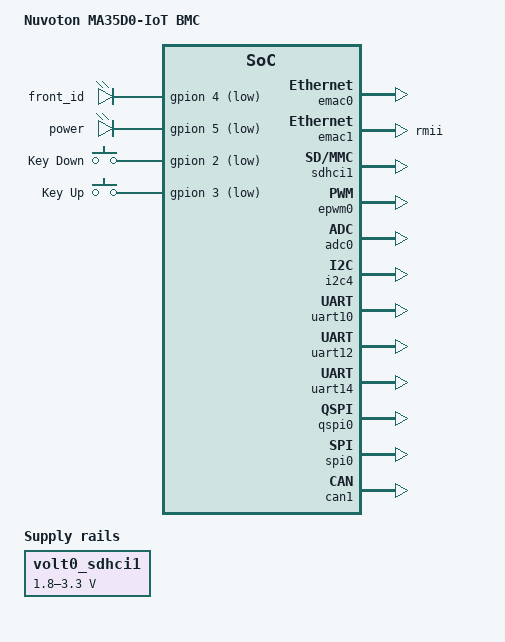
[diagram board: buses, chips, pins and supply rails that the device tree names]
/*
 * Device Tree Source for MA35D0 IoT Board (BMC)
 *
 * Copyright (C) 2021 Nuvoton Technology Corp.
 *
 * The code contained herein is licensed under the GNU General Public
 * License. You may obtain a copy of the GNU General Public License
 * Version 2 or later at the following locations:
 *
 * http://www.opensource.org/licenses/gpl-license.html
 * http://www.gnu.org/copyleft/gpl.html
 */

/dts-v1/;

#include "ma35d0.dtsi"

/ {
	model = "Nuvoton MA35D0-IoT BMC";

	chosen {
		bootargs = "noinitrd ubi.mtd=spinand-rootfs root=ubi0:rootfs rootfstype=ubifs rw rootwait=1 console=ttyS0,115200n8 init=/sbin/init mem=256M swiotlb=1";
	};

	leds {
		compatible = "gpio-leds";

		front_id {
			label = "front_id";
			gpios = <&gpion 4 1>;
			default-state = "off";
		};

		power {
			label = "power";
			gpios = <&gpion 5 1>;
			default-state = "on";
		};
	};

	gpio_keys_test {
		compatible = "gpio-keys";
		status = "okay";
		autorepeat;
		botton0 {
			label = "Key Down";
			linux,code = <KEY_DOWN>;
			gpios = <&gpion 2 GPIO_ACTIVE_LOW>;
			wakeup-source;
		};
		button1{
			label ="Key Up";
			linux,code = <KEY_UP>;
			gpios = <&gpion 3 GPIO_ACTIVE_LOW>;
			wakeup-source;
		};
	};

	volt0_sdhci1: regulator-volt0_sdhci1 {
		compatible = "regulator-gpio";
		regulator-name = "volt1_sdhci1";
		regulator-min-microvolt = <1800000>;
		regulator-max-microvolt = <3300000>;
		gpios = <&gpion 11 GPIO_ACTIVE_HIGH>; /* PN11 */
		gpios-states = <0>;
		states = <1800000 0x1 3300000 0x0>;
		enable-active-high;
		regulator-boot-on;
	};
};

&mem {
	device_type = "memory";
	reg = <0x00000000 0x80000000 0 0x10000000>; /* DRAM space - 1, size : 256MB DRAM */
};

&pdma0 {
	status = "disabled";
};

&pdma1 {
	status = "okay";
};

&pdma2 {
	status = "disabled";
};

&pdma3 {
	status = "disabled";
};

&emac0 {
	status = "okay";
	pinctrl-names = "default";
	pinctrl-0 = <&pinctrl_emac0>;
};

&emac1 {
	status = "okay";
	phy-mode = "rmii";
	pinctrl-names = "default";
	pinctrl-0 = <&pinctrl_emac1>;
};

&ehci0 {
	pinctrl-names = "default";
	pinctrl-0 = <&pinctrl_hsusbh>;
};

&usb {
	pinctrl-names = "default";
	pinctrl-0 = <&pinctrl_usb>;
};

&nand {
	status = "disabled";
	pinctrl-names = "default";
	pinctrl-0 = <&pinctrl_nand>;
};

&sdhci1 {
	status = "okay";
	disable-wp;
	pinctrl-names = "sdhci_3V3","sdhci_1V8";
	pinctrl-0 = <&pinctrl_sdhci1_3_3V>;
	pinctrl-1 = <&pinctrl_sdhci1_1_8V>;
	vqmmc-supply = <&volt0_sdhci1>;
	power-gpios = <&gpion 14 GPIO_ACTIVE_LOW>; /* PN14 */
};

&epwm0 {
	status = "okay";
	pinctrl-names = "default";
	pinctrl-0 = <&pinctrl_epwm0>;
};

&adc0 {
	status = "okay";
	pinctrl-names = "default";
	pinctrl-0 = <&pinctrl_adc0>;
};

&i2c4 {
	status = "okay";
	pinctrl-names = "default";
	pinctrl-0 = <&pinctrl_i2c4>;
};

&i2c5 {
	status = "disabled";
	pinctrl-names = "default";
	pinctrl-0 = <&pinctrl_i2c5>;
};

&uart10 {
	status = "okay";
	pinctrl-names = "default";
	pinctrl-0 = <&pinctrl_uart10>;
};

&uart12 {
	status = "okay";
	pinctrl-names = "default";
	pinctrl-0 = <&pinctrl_uart12>;
};

&uart14 {
	status = "okay";
	pinctrl-names = "default";
	pinctrl-0 = <&pinctrl_uart14>;
};

&i2s0 {
	status = "disabled";
};

&i2s_pcm {
	status = "disabled";
};

&sound {
	status = "disabled";
};

&qspi0 {
	status = "okay";
	pinctrl-names = "default";
	pinctrl-0 = <&pinctrl_qspi0>;
};

&spi0 {
	status = "okay";
	pinctrl-names = "default";
	pinctrl-0 = <&pinctrl_spi0>;
};

&can1 {
	status = "okay";
	pinctrl-names = "default";
	pinctrl-0 = <&pinctrl_can1>;
};

&pinctrl {
	emac0 {
		pinctrl_emac0: emac0grp{
			nuvoton,pins =
				<SYS_GPE_MFPL_PE0MFP_RMII0_MDC		&pcfg_emac_3_3V>,
				<SYS_GPE_MFPL_PE1MFP_RMII0_MDIO	&pcfg_emac_3_3V>,
				<SYS_GPE_MFPL_PE2MFP_RMII0_TXEN	&pcfg_emac_3_3V>,
				<SYS_GPE_MFPL_PE3MFP_RMII0_TXD0	&pcfg_emac_3_3V>,
				<SYS_GPE_MFPL_PE4MFP_RMII0_TXD1	&pcfg_emac_3_3V>,
				<SYS_GPE_MFPL_PE5MFP_RMII0_REFCLK	&pcfg_emac_3_3V>,
				<SYS_GPE_MFPL_PE6MFP_RMII0_CRSDV	&pcfg_emac_3_3V>,
				<SYS_GPE_MFPL_PE7MFP_RMII0_RXD0	&pcfg_emac_3_3V>,
				<SYS_GPE_MFPH_PE8MFP_RMII0_RXD1	&pcfg_emac_3_3V>,
				<SYS_GPE_MFPH_PE9MFP_RMII0_RXERR	&pcfg_emac_3_3V>;
		};
	};

	emac1 {
		pinctrl_emac1: emac1grp{
			nuvoton,pins =
				<SYS_GPF_MFPL_PF0MFP_RMII1_MDC		&pcfg_emac_3_3V>,
				<SYS_GPF_MFPL_PF1MFP_RMII1_MDIO	&pcfg_emac_3_3V>,
				<SYS_GPF_MFPL_PF2MFP_RMII1_TXEN	&pcfg_emac_3_3V>,
				<SYS_GPF_MFPL_PF3MFP_RMII1_TXD0	&pcfg_emac_3_3V>,
				<SYS_GPF_MFPL_PF4MFP_RMII1_TXD1	&pcfg_emac_3_3V>,
				<SYS_GPF_MFPL_PF5MFP_RMII1_REFCLK	&pcfg_emac_3_3V>,
				<SYS_GPF_MFPL_PF6MFP_RMII1_CRSDV	&pcfg_emac_3_3V>,
				<SYS_GPF_MFPL_PF7MFP_RMII1_RXD0	&pcfg_emac_3_3V>,
				<SYS_GPF_MFPH_PF8MFP_RMII1_RXD1	&pcfg_emac_3_3V>,
				<SYS_GPF_MFPH_PF9MFP_RMII1_RXERR	&pcfg_emac_3_3V>;
		};
	};

	hsusbh {
		pinctrl_hsusbh: hsusbhgrp{
			nuvoton,pins =
				<SYS_GPL_MFPH_PL12MFP_HSUSBH_PWREN	&pcfg_default>,
				<SYS_GPL_MFPH_PL13MFP_HSUSBH_OVC	&pcfg_default>;
		};
	};

	adc0 {
		pinctrl_adc0: adc0grp {
			nuvoton,pins =
				<SYS_GPB_MFPH_PB10MFP_ADC0_CH2	&pcfg_default>,
				<SYS_GPB_MFPH_PB11MFP_ADC0_CH3	&pcfg_default>,
				<SYS_GPB_MFPH_PB12MFP_ADC0_CH4	&pcfg_default>,
				<SYS_GPB_MFPH_PB13MFP_ADC0_CH5	&pcfg_default>,
				<SYS_GPB_MFPH_PB14MFP_ADC0_CH6	&pcfg_default>,
				<SYS_GPB_MFPH_PB15MFP_ADC0_CH7	&pcfg_default>;
		};
	};

	epwm0 {
		pinctrl_epwm0: epwm0grp{
			nuvoton,pins =
				<SYS_GPD_MFPL_PD7MFP_EPWM0_CH1	&pcfg_default>;
		};
	};

	i2c4 {
		pinctrl_i2c4: i2c4grp{
			nuvoton,pins =
				<SYS_GPC_MFPL_PC0MFP_I2C4_SDA	&pcfg_default>,
				<SYS_GPC_MFPL_PC1MFP_I2C4_SCL	&pcfg_default>;
		};
	};

	i2c5 {
		pinctrl_i2c5: i2c5grp{
			nuvoton,pins =
				<SYS_GPC_MFPL_PC4MFP_I2C5_SDA	&pcfg_default>,
				<SYS_GPC_MFPL_PC5MFP_I2C5_SCL	&pcfg_default>;
		};
	};

	uart10 {
		pinctrl_uart10: uart10grp{
			nuvoton,pins =
				<SYS_GPH_MFPL_PH6MFP_UART10_RXD	&pcfg_default>,
				<SYS_GPH_MFPL_PH7MFP_UART10_TXD	&pcfg_default>;
		};
	};

	uart12 {
		pinctrl_uart12: uart12grp{
			nuvoton,pins =
				<SYS_GPG_MFPH_PG8MFP_UART12_RXD	&pcfg_default>,
				<SYS_GPG_MFPH_PG9MFP_UART12_TXD	&pcfg_default>,
				<SYS_GPG_MFPH_PG10MFP_UART12_nRTS	&pcfg_default>,
				<SYS_GPK_MFPL_PK4MFP_UART12_nCTS	&pcfg_default>;
		};
	};

	uart14 {
		pinctrl_uart14: uart14grp{
			nuvoton,pins =
				<SYS_GPH_MFPH_PH14MFP_UART14_RXD	&pcfg_default>,
				<SYS_GPH_MFPH_PH15MFP_UART14_TXD	&pcfg_default>;
		};
	};

	qspi0 {
		pinctrl_qspi0: qspi0grp{
			nuvoton,pins =
				<SYS_GPD_MFPL_PD0MFP_QSPI0_SS0		&pcfg_default>,
				<SYS_GPD_MFPL_PD1MFP_QSPI0_CLK		&pcfg_default>,
				<SYS_GPD_MFPL_PD2MFP_QSPI0_MOSI0	&pcfg_default>,
				<SYS_GPD_MFPL_PD3MFP_QSPI0_MISO0	&pcfg_default>,
				<SYS_GPD_MFPL_PD4MFP_QSPI0_MOSI1	&pcfg_default>,
				<SYS_GPD_MFPL_PD5MFP_QSPI0_MISO1	&pcfg_default>;
		};
	};

	spi0 {
		pinctrl_spi0: spi0grp{
			nuvoton,pins =
				<SYS_GPG_MFPL_PG0MFP_SPI0_SS0    &pcfg_default>,
				<SYS_GPB_MFPH_PB8MFP_SPI0_SS1    &pcfg_default>,
				<SYS_GPB_MFPH_PB9MFP_SPI0_CLK    &pcfg_default>,
				<SYS_GPL_MFPH_PL14MFP_SPI0_MOSI    &pcfg_default>,
				<SYS_GPL_MFPH_PL15MFP_SPI0_MISO    &pcfg_default>;
		};
	};

	can1 {
		pinctrl_can1: can1grp{
			nuvoton,pins =
				<SYS_GPN_MFPL_PN6MFP_CAN1_RXD	&pcfg_default>,
				<SYS_GPN_MFPL_PN7MFP_CAN1_TXD	&pcfg_default>;
		};
	};

	usb {
		pinctrl_usb: usbgrp{
			nuvoton,pins =
				<SYS_GPF_MFPH_PF15MFP_HSUSB0_VBUSVLD	&pcfg_default>;
		};
	};

	nand {
		pinctrl_nand: nandgrp{
			nuvoton,pins =
				<SYS_GPA_MFPL_PA0MFP_NAND_DATA0	&pcfg_default>,
				<SYS_GPA_MFPL_PA1MFP_NAND_DATA1	&pcfg_default>,
				<SYS_GPA_MFPL_PA2MFP_NAND_DATA2	&pcfg_default>,
				<SYS_GPA_MFPL_PA3MFP_NAND_DATA3	&pcfg_default>,
				<SYS_GPA_MFPL_PA4MFP_NAND_DATA4	&pcfg_default>,
				<SYS_GPA_MFPL_PA5MFP_NAND_DATA5	&pcfg_default>,
				<SYS_GPA_MFPL_PA6MFP_NAND_DATA6	&pcfg_default>,
				<SYS_GPA_MFPL_PA7MFP_NAND_DATA7	&pcfg_default>,
				<SYS_GPA_MFPH_PA8MFP_NAND_RDY	&pcfg_default>,
				<SYS_GPA_MFPH_PA9MFP_NAND_nRE	&pcfg_default>,
				<SYS_GPA_MFPH_PA10MFP_NAND_nWE	&pcfg_default>,
				<SYS_GPA_MFPH_PA11MFP_NAND_CLE	&pcfg_default>,
				<SYS_GPA_MFPH_PA12MFP_NAND_ALE	&pcfg_default>,
				<SYS_GPA_MFPH_PA13MFP_NAND_nCS	&pcfg_default>,
				<SYS_GPA_MFPH_PA14MFP_NAND_nWP	&pcfg_default>;
		};
	};

	sdhci1 {
		pinctrl_sdhci1_3_3V: sdhci1_3_3Vgrp{
			nuvoton,pins =
				<SYS_GPJ_MFPL_PJ5MFP_SD1_nCD	&pcfg_default>,
				<SYS_GPJ_MFPL_PJ6MFP_SD1_CMD	&pcfg_sdhci_drive2_3_3V>,
				<SYS_GPJ_MFPL_PJ7MFP_SD1_CLK	&pcfg_sdhci_drive2_3_3V>,
				<SYS_GPJ_MFPH_PJ8MFP_SD1_DAT0	&pcfg_sdhci_drive2_3_3V>,
				<SYS_GPJ_MFPH_PJ9MFP_SD1_DAT1	&pcfg_sdhci_drive2_3_3V>,
				<SYS_GPJ_MFPH_PJ10MFP_SD1_DAT2	&pcfg_sdhci_drive2_3_3V>,
				<SYS_GPJ_MFPH_PJ11MFP_SD1_DAT3	&pcfg_sdhci_drive2_3_3V>;
		};

		pinctrl_sdhci1_1_8V: sdhci1_1_8Vgrp{
			nuvoton,pins =
				<SYS_GPJ_MFPL_PJ5MFP_SD1_nCD	&pcfg_default>,
				<SYS_GPJ_MFPL_PJ6MFP_SD1_CMD	&pcfg_sdhci_drive4_1_8V>,
				<SYS_GPJ_MFPL_PJ7MFP_SD1_CLK	&pcfg_sdhci_drive7_1_8V>,
				<SYS_GPJ_MFPH_PJ8MFP_SD1_DAT0	&pcfg_sdhci_drive1_1_8V>,
				<SYS_GPJ_MFPH_PJ9MFP_SD1_DAT1	&pcfg_sdhci_drive1_1_8V>,
				<SYS_GPJ_MFPH_PJ10MFP_SD1_DAT2	&pcfg_sdhci_drive1_1_8V>,
				<SYS_GPJ_MFPH_PJ11MFP_SD1_DAT3	&pcfg_sdhci_drive1_1_8V>;
		};
	};
};
